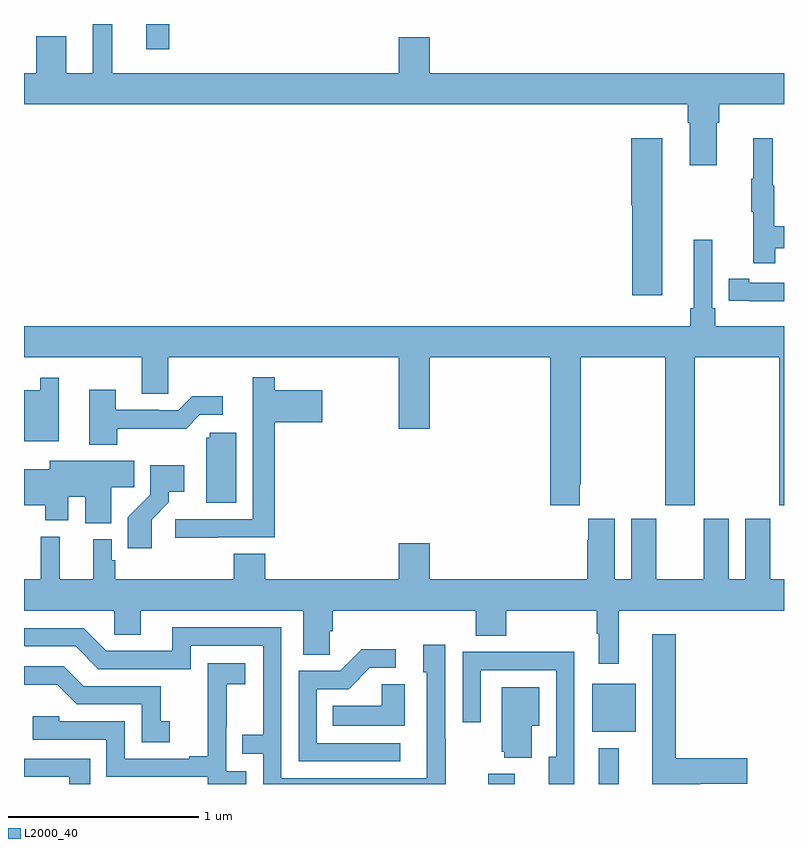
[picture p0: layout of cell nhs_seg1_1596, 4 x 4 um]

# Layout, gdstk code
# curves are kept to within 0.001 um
import gdstk
lib = gdstk.Library(unit=1e-6, precision=1e-09)
def R(c, l, rs):  # rectangles x0, y0, x1, y1
    for r in rs: c.add(gdstk.rectangle(r[:2], r[2:], *l))
def P(c, l, *ps):  # polygons
    for p in ps: c.add(gdstk.Polygon(p, *l))
L2000_40 = (2000, 40)

nhs_seg1_1596 = lib.new_cell('nhs_seg1_1596')
R(nhs_seg1_1596, L2000_40, [(201.443,504.199,201.583,504.253), (202.025,504.199,202.129,504.388), (201.992,504.473,202.219,504.727), (199.643,508.065,199.765,508.199)])
P(nhs_seg1_1596, L2000_40, [(202.645,507.68),(202.658,507.68),(202.658,507.776),(203,507.776),(203,507.94),(201.136,507.94),(201.136,508.129),(200.972,508.129),(200.972,507.94),(199.465,507.94),(199.465,508.199),(199.361,508.199),(199.361,507.94),(199.222,507.94),(199.222,508.135),(199.064,508.135),(199.064,507.94),(199,507.94),(199,507.776),(202.493,507.776),(202.493,507.68),(202.505,507.68),(202.505,507.456),(202.645,507.456)],
  [(202.955,507.018),(203,507.018),(203,507.134),(202.948,507.134),(202.948,507.348),(202.94,507.348),(202.94,507.598),(202.838,507.598),(202.838,507.385),(202.827,507.385),(202.827,507.211),(202.838,507.211),(202.838,506.94),(202.955,506.94)],
  [(202.36,507.598),(202.196,507.598),(202.196,507.246),(202.202,507.246),(202.202,506.772),(202.36,506.772)],
  [(201.925,505.777),(201.93,505.777),(201.93,506.444),(202.375,506.444),(202.375,505.665),(202.53,505.665),(202.53,506.444),(202.975,506.444),(202.975,505.665),(203,505.665),(203,506.608),(202.637,506.608),(202.637,506.704),(202.623,506.704),(202.623,507.064),(202.526,507.064),(202.526,506.704),(202.507,506.704),(202.507,506.608),(199,506.608),(199,506.444),(199.619,506.444),(199.619,506.254),(199.758,506.254),(199.758,506.444),(200.972,506.444),(200.972,506.07),(201.136,506.07),(201.136,506.444),(201.77,506.444),(201.77,505.665),(201.925,505.665)],
  [(203,506.838),(202.816,506.838),(202.816,506.858),(202.708,506.858),(202.708,506.742),(202.816,506.742),(202.816,506.741),(203,506.741)],
  [(200.021,505.497),(200.321,505.497),(200.321,506.102),(200.569,506.102),(200.569,506.272),(200.321,506.272),(200.321,506.341),(200.204,506.341),(200.204,506.118),(200.205,506.118),(200.205,505.593),(199.797,505.593),(199.797,505.495),(200.021,505.495)],
  [(199.182,506.338),(199.086,506.338),(199.086,506.272),(199,506.272),(199,506.003),(199.182,506.003)],
  [(199.491,506.07),(199.853,506.069),(199.926,506.142),(200.047,506.142),(200.047,506.239),(199.885,506.239),(199.812,506.166),(199.712,506.166),(199.712,506.169),(199.483,506.169),(199.483,506.275),(199.343,506.275),(199.343,505.985),(199.491,505.985)],
  [(200.116,506.049),(199.977,506.049),(199.977,506.022),(199.958,506.022),(199.958,505.678),(200.116,505.678)],
  [(199.459,505.762),(199.58,505.762),(199.58,505.9),(199.136,505.9),(199.136,505.855),(199,505.855),(199,505.667),(199.112,505.667),(199.112,505.586),(199.234,505.586),(199.234,505.712),(199.322,505.712),(199.322,505.571),(199.459,505.571)],
  [(199.672,505.591),(199.762,505.681),(199.762,505.736),(199.843,505.736),(199.843,505.876),(199.665,505.876),(199.665,505.721),(199.546,505.602),(199.546,505.44),(199.672,505.44)],
  [(202.129,505.112),(203,505.112),(203,505.276),(202.927,505.276),(202.927,505.594),(202.796,505.594),(202.796,505.276),(202.708,505.276),(202.708,505.594),(202.577,505.594),(202.577,505.276),(202.327,505.276),(202.327,505.594),(202.196,505.594),(202.196,505.276),(202.108,505.276),(202.108,505.594),(201.971,505.594),(201.971,505.481),(201.965,505.481),(201.965,505.276),(201.136,505.276),(201.136,505.465),(200.972,505.465),(200.972,505.276),(200.27,505.276),(200.27,505.412),(200.105,505.412),(200.105,505.276),(199.481,505.276),(199.481,505.377),(199.461,505.377),(199.461,505.486),(199.364,505.486),(199.364,505.276),(199.187,505.276),(199.187,505.501),(199.088,505.501),(199.088,505.276),(199,505.276),(199,505.112),(199.476,505.112),(199.476,504.985),(199.615,504.985),(199.615,505.112),(200.471,505.112),(200.471,504.88),(200.61,504.88),(200.61,505.003),(200.624,505.003),(200.624,505.112),(201.377,505.112),(201.377,504.979),(201.537,504.979),(201.537,505.112),(202.015,505.112),(202.015,504.991),(202.025,504.991),(202.025,504.831),(202.129,504.831)],
  [(201.219,504.437),(201.216,504.437),(201.216,504.931),(201.101,504.931),(201.101,504.786),(201.12,504.786),(201.12,504.228),(200.355,504.228),(200.355,505.023),(199.781,505.023),(199.781,504.9),(199.434,504.9),(199.314,505.02),(199,505.02),(199,504.924),(199.272,504.924),(199.392,504.804),(199.878,504.804),(199.878,504.927),(200.259,504.927),(200.259,504.458),(200.149,504.458),(200.149,504.357),(200.259,504.357),(200.259,504.199),(201.219,504.199)],
  [(202.558,504.2),(202.807,504.2),(202.807,504.335),(202.429,504.335),(202.429,504.988),(202.307,504.988),(202.307,504.199),(202.558,504.199)],
  [(200.98,504.414),(200.541,504.414),(200.541,504.699),(200.71,504.699),(200.821,504.81),(200.956,504.81),(200.956,504.908),(200.777,504.908),(200.664,504.795),(200.445,504.795),(200.445,504.318),(200.98,504.318)],
  [(201.897,504.896),(201.625,504.896),(201.625,504.894),(201.309,504.894),(201.309,504.525),(201.405,504.525),(201.405,504.798),(201.801,504.798),(201.801,504.342),(201.761,504.342),(201.761,504.199),(201.897,504.199)],
  [(200.169,504.267),(200.064,504.267),(200.064,504.497),(200.066,504.497),(200.066,504.725),(200.164,504.725),(200.164,504.835),(199.966,504.835),(199.966,504.629),(199.967,504.629),(199.967,504.346),(199.871,504.346),(199.871,504.333),(199.53,504.333),(199.53,504.528),(199.185,504.528),(199.185,504.555),(199.045,504.555),(199.045,504.432),(199.434,504.432),(199.434,504.237),(199.968,504.237),(199.968,504.199),(200.169,504.199)],
  [(199.768,504.529),(199.719,504.529),(199.719,504.714),(199.315,504.714),(199.21,504.819),(199,504.819),(199,504.722),(199.174,504.722),(199.278,504.618),(199.62,504.618),(199.62,504.42),(199.768,504.42)],
  [(201.004,504.725),(200.883,504.725),(200.883,504.61),(200.626,504.61),(200.626,504.506),(201.004,504.506)],
  [(201.673,504.506),(201.712,504.506),(201.712,504.709),(201.515,504.709),(201.515,504.369),(201.527,504.369),(201.527,504.338),(201.673,504.338)],
  [(199.349,504.333),(199,504.333),(199,504.237),(199.238,504.237),(199.238,504.199),(199.349,504.199)])

lib.write_gds('nhs_seg1_1596.gds')
